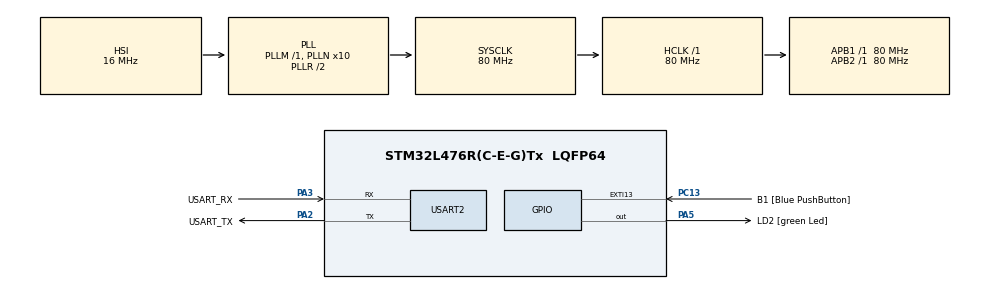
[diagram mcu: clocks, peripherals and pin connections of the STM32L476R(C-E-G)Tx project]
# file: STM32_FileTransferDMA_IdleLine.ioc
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Dma.Request0=USART2_RX
Dma.USART2_RX.0.Direction=DMA_PERIPH_TO_MEMORY
Dma.USART2_RX.0.Instance=DMA1_Channel6
Dma.USART2_RX.0.MemDataAlignment=DMA_MDATAALIGN_BYTE
Dma.USART2_RX.0.MemInc=DMA_MINC_ENABLE
Dma.USART2_RX.0.Mode=DMA_CIRCULAR
Dma.USART2_RX.0.PeriphDataAlignment=DMA_PDATAALIGN_BYTE
Dma.USART2_RX.0.PeriphInc=DMA_PINC_DISABLE
Dma.USART2_RX.0.Priority=DMA_PRIORITY_LOW
Mcu.Family=STM32L4
Mcu.Name=STM32L476R(C-E-G)Tx
Mcu.Package=LQFP64
NVIC.DMA1_Channel6_IRQn=true\:0\:0\:false\:false\:true\:false\:true\:true
NVIC.PriorityGroup=NVIC_PRIORITYGROUP_4
NVIC.USART2_IRQn=true\:0\:0\:false\:false\:true\:true\:true\:true
PA13\ (JTMS-SWDIO).GPIO_Label=TMS
PA13\ (JTMS-SWDIO).Mode=Serial_Wire
PA13\ (JTMS-SWDIO).Signal=SYS_JTMS-SWDIO
PA14\ (JTCK-SWCLK).GPIO_Label=TCK
PA14\ (JTCK-SWCLK).Mode=Serial_Wire
PA14\ (JTCK-SWCLK).Signal=SYS_JTCK-SWCLK
PA2.GPIO_Label=USART_TX
PA2.GPIO_Mode=GPIO_MODE_AF_PP
PA2.GPIO_PuPd=GPIO_NOPULL
PA2.GPIO_Speed=GPIO_SPEED_FREQ_VERY_HIGH
PA2.Mode=Asynchronous
PA2.Signal=USART2_TX
PA3.GPIO_Label=USART_RX
PA3.GPIO_Mode=GPIO_MODE_AF_PP
PA3.GPIO_PuPd=GPIO_NOPULL
PA3.GPIO_Speed=GPIO_SPEED_FREQ_VERY_HIGH
PA3.Mode=Asynchronous
PA3.Signal=USART2_RX
PA5.GPIO_Label=LD2 [green Led]
PA5.GPIO_ModeDefaultOutputPP=GPIO_MODE_OUTPUT_PP
PA5.GPIO_PuPd=GPIO_NOPULL
PA5.GPIO_Speed=GPIO_SPEED_FREQ_LOW
PA5.Signal=GPIO_Output
PB3\ (JTDO-TRACESWO).GPIO_Label=SWO
PB3\ (JTDO-TRACESWO).Signal=SYS_JTDO-SWO
PC13.GPIO_Label=B1 [Blue PushButton]
PC13.GPIO_ModeDefaultEXTI=GPIO_MODE_IT_FALLING
PC13.GPIO_PuPd=GPIO_NOPULL
PC13.Signal=GPXTI13
PC14-OSC32_IN\ (PC14).Mode=LSE-External-Oscillator
PC14-OSC32_IN\ (PC14).Signal=RCC_OSC32_IN
PC15-OSC32_OUT\ (PC15).Mode=LSE-External-Oscillator
PC15-OSC32_OUT\ (PC15).Signal=RCC_OSC32_OUT
PH0-OSC_IN\ (PH0).Signal=RCC_OSC_IN
PH1-OSC_OUT\ (PH1).Signal=RCC_OSC_OUT
ProjectManager.HeapSize=0x200
ProjectManager.StackSize=0x400
ProjectManager.TargetToolchain=STM32CubeIDE
RCC.ADCFreq_Value=64000000
RCC.AHBFreq_Value=80000000
RCC.APB1Freq_Value=80000000
RCC.APB1TimFreq_Value=80000000
RCC.APB2Freq_Value=80000000
RCC.APB2TimFreq_Value=80000000
RCC.CortexFreq_Value=80000000
RCC.HCLKFreq_Value=80000000
RCC.HSE_VALUE=8000000
RCC.HSI_VALUE=16000000
RCC.MSI_VALUE=4000000
RCC.PLLN=10
RCC.PLLSourceVirtual=RCC_PLLSOURCE_HSI
RCC.PREFETCH_ENABLE=1
RCC.SYSCLKFreq_VALUE=80000000
RCC.SYSCLKSource=RCC_SYSCLKSOURCE_PLLCLK
RCC.USBFreq_Value=64000000
RCC.VCOOutputFreq_Value=160000000
USART2.VirtualMode-Asynchronous=VM_ASYNC
board=NUCLEO-L476RG

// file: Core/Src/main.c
/* USER CODE BEGIN Header */
/**
  ******************************************************************************
  * @file           : main.c
  * @brief          : Main program body
  ******************************************************************************
  * @attention
  *
  * Copyright (c) 2024 STMicroelectronics.
  * All rights reserved.
  *
  * This software is licensed under terms that can be found in the LICENSE file
  * in the root directory of this software component.
  * If no LICENSE file comes with this software, it is provided AS-IS.
  *
  ******************************************************************************
  */
/* USER CODE END Header */
#include "main.h"

/* USER CODE BEGIN Includes */

#include "stdint.h"
#include "string.h"

/* USER CODE END Includes */

/* USER CODE BEGIN PD */

#define RXSIZE 256

/* USER CODE END PD */

UART_HandleTypeDef huart2;
DMA_HandleTypeDef hdma_usart2_rx;

void SystemClock_Config(void);
static void MX_GPIO_Init(void);
static void MX_DMA_Init(void);
static void MX_USART2_UART_Init(void);

/* USER CODE BEGIN 0 */

uint8_t RxData[RXSIZE];	// Buffer de recebimento da serial
uint8_t FinalBuf[4096];	// Buffer de armazenamento do arquivo completo
uint16_t indx1 = 0;		// index de controle do buffer RxData
uint16_t indx2 = 0;		// index de controle do buffer FinalBuf
uint16_t rxcplt = 0;	// contador RxData completos, auxilia contagem indx2
int enable_timer = 0;	// flag utilizada para habilitar/desabilitar timer de fim recebimento - Importante para evitar o reset do DMA enquanto nenhum dado tiver sido recebido
uint16_t timer = 0;		// timer utilizado para controlar timeout de recebimento

void HAL_UARTEx_RxEventCallback(UART_HandleTypeDef *huart, uint16_t Size)
{
	/*Faz copia do buffer da serial para um buffer "final" apenas para exemplo, mas essa copia pode ser feita para
	 * a flash ou para o SDCard criando um arquivo copiando as partes recebidas pelo buffer serial*/
	memcpy(FinalBuf + indx2, RxData + indx1, Size);
	if (Size == RXSIZE)
	{
		rxcplt++;
		indx2 = RXSIZE * rxcplt;
		indx1 = 0;
	}
	else
	{
		indx2 = indx2 + (Size - indx1);
		indx1 = Size;
	}
	timer = 0;
	enable_timer = 1;
}

/* USER CODE END 0 */

int main(void)
{

  /* MCU Configuration--------------------------------------------------------*/

  /* Reset of all peripherals, Initializes the Flash interface and the Systick. */
  HAL_Init();

  /* Configure the system clock */
  SystemClock_Config();

  /* Initialize all configured peripherals */
  MX_GPIO_Init();
  MX_DMA_Init();
  MX_USART2_UART_Init();
  /* USER CODE BEGIN 2 */

  // ativa interrupcao idle line DMA USART2
  HAL_UARTEx_ReceiveToIdle_DMA(&huart2, RxData, RXSIZE);

  /* USER CODE END 2 */

  /* Infinite loop */
  while (1)
  {

    /* USER CODE BEGIN 3 */

	// Rotina de timeout de recepcao
	if(timer >= 1000)
	{
		/* Zerando os buffers e todas as variaveis de auxilio depois de 1 segundo, apenas para conseguir enviar
		 * outro arquivo sem RESET da placa. Apenas para exemplificar o funcionamento da funcao, apos o timeout
		 * o arquivo final precisa ser tratado ou salvo, mas é necessario sempre fazer o STOP do DMA ao finalizar
		 * a recepcao do arquivo e iniciar novamente a interrupcao para receber novos arquivos */
		timer = 0;
		enable_timer = 0;
		indx1 = 0;
		indx2 = 0;
		rxcplt = 0;
		memset(FinalBuf, 0, 4096);
		HAL_UART_DMAStop(&huart2);
		HAL_UARTEx_ReceiveToIdle_DMA(&huart2, RxData, RXSIZE);
	}

	//blink do led built-in
	HAL_GPIO_TogglePin(LD2_GPIO_Port, LD2_Pin);
	HAL_Delay(500);
  }
  /* USER CODE END 3 */
}

void SystemClock_Config(void)
{
  RCC_OscInitTypeDef RCC_OscInitStruct = {0};
  RCC_ClkInitTypeDef RCC_ClkInitStruct = {0};

  /** Configure the main internal regulator output voltage
  */
  if (HAL_PWREx_ControlVoltageScaling(PWR_REGULATOR_VOLTAGE_SCALE1) != HAL_OK)
  {
    Error_Handler();
  }

  /** Initializes the RCC Oscillators according to the specified parameters
  * in the RCC_OscInitTypeDef structure.
  */
  RCC_OscInitStruct.OscillatorType = RCC_OSCILLATORTYPE_HSI;
  RCC_OscInitStruct.HSIState = RCC_HSI_ON;
  RCC_OscInitStruct.HSICalibrationValue = RCC_HSICALIBRATION_DEFAULT;
  RCC_OscInitStruct.PLL.PLLState = RCC_PLL_ON;
  RCC_OscInitStruct.PLL.PLLSource = RCC_PLLSOURCE_HSI;
  RCC_OscInitStruct.PLL.PLLM = 1;
  RCC_OscInitStruct.PLL.PLLN = 10;
  RCC_OscInitStruct.PLL.PLLP = RCC_PLLP_DIV7;
  RCC_OscInitStruct.PLL.PLLQ = RCC_PLLQ_DIV2;
  RCC_OscInitStruct.PLL.PLLR = RCC_PLLR_DIV2;
  if (HAL_RCC_OscConfig(&RCC_OscInitStruct) != HAL_OK)
  {
    Error_Handler();
  }

  /** Initializes the CPU, AHB and APB buses clocks
  */
  RCC_ClkInitStruct.ClockType = RCC_CLOCKTYPE_HCLK|RCC_CLOCKTYPE_SYSCLK
                              |RCC_CLOCKTYPE_PCLK1|RCC_CLOCKTYPE_PCLK2;
  RCC_ClkInitStruct.SYSCLKSource = RCC_SYSCLKSOURCE_PLLCLK;
  RCC_ClkInitStruct.AHBCLKDivider = RCC_SYSCLK_DIV1;
  RCC_ClkInitStruct.APB1CLKDivider = RCC_HCLK_DIV1;
  RCC_ClkInitStruct.APB2CLKDivider = RCC_HCLK_DIV1;

  if (HAL_RCC_ClockConfig(&RCC_ClkInitStruct, FLASH_LATENCY_4) != HAL_OK)
  {
    Error_Handler();
  }
}

static void MX_USART2_UART_Init(void)
{

  huart2.Instance = USART2;
  huart2.Init.BaudRate = 115200;
  huart2.Init.WordLength = UART_WORDLENGTH_8B;
  huart2.Init.StopBits = UART_STOPBITS_1;
  huart2.Init.Parity = UART_PARITY_NONE;
  huart2.Init.Mode = UART_MODE_TX_RX;
  huart2.Init.HwFlowCtl = UART_HWCONTROL_NONE;
  huart2.Init.OverSampling = UART_OVERSAMPLING_16;
  huart2.Init.OneBitSampling = UART_ONE_BIT_SAMPLE_DISABLE;
  huart2.AdvancedInit.AdvFeatureInit = UART_ADVFEATURE_NO_INIT;
  if (HAL_UART_Init(&huart2) != HAL_OK)
  {
    Error_Handler();
  }

}

static void MX_DMA_Init(void)
{

  /* DMA controller clock enable */
  __HAL_RCC_DMA1_CLK_ENABLE();

  /* DMA interrupt init */
  /* DMA1_Channel6_IRQn interrupt configuration */
  HAL_NVIC_SetPriority(DMA1_Channel6_IRQn, 0, 0);
  HAL_NVIC_EnableIRQ(DMA1_Channel6_IRQn);

}

static void MX_GPIO_Init(void)
{
  GPIO_InitTypeDef GPIO_InitStruct = {0};

  /* GPIO Ports Clock Enable */
  __HAL_RCC_GPIOC_CLK_ENABLE();
  __HAL_RCC_GPIOH_CLK_ENABLE();
  __HAL_RCC_GPIOA_CLK_ENABLE();
  __HAL_RCC_GPIOB_CLK_ENABLE();

  /*Configure GPIO pin Output Level */
  HAL_GPIO_WritePin(LD2_GPIO_Port, LD2_Pin, GPIO_PIN_RESET);

  /*Configure GPIO pin : B1_Pin */
  GPIO_InitStruct.Pin = B1_Pin;
  GPIO_InitStruct.Mode = GPIO_MODE_IT_FALLING;
  GPIO_InitStruct.Pull = GPIO_NOPULL;
  HAL_GPIO_Init(B1_GPIO_Port, &GPIO_InitStruct);

  /*Configure GPIO pin : LD2_Pin */
  GPIO_InitStruct.Pin = LD2_Pin;
  GPIO_InitStruct.Mode = GPIO_MODE_OUTPUT_PP;
  GPIO_InitStruct.Pull = GPIO_NOPULL;
  GPIO_InitStruct.Speed = GPIO_SPEED_FREQ_LOW;
  HAL_GPIO_Init(LD2_GPIO_Port, &GPIO_InitStruct);

}

void Error_Handler(void)
{
  __disable_irq();
  while (1)
  {
  }
}
